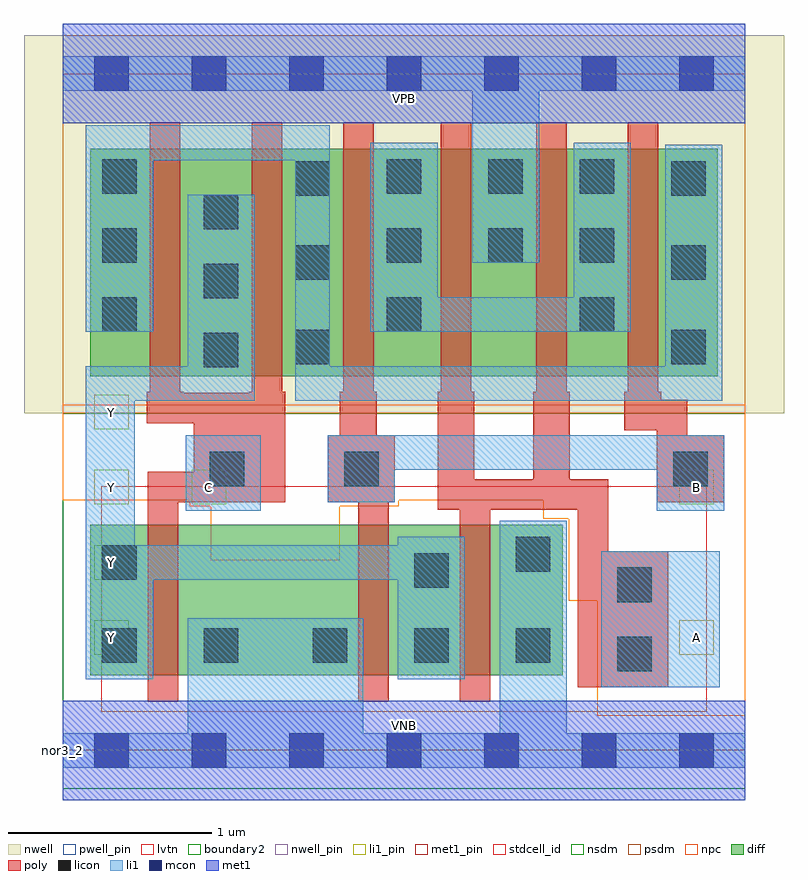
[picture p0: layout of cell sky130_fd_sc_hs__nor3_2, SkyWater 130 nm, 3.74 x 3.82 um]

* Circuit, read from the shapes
.subckt sky130_fd_sc_hs__nor3_2 A B C VGND VNB VPB VPWR Y
XM1 VGND C Y VNB sky130_fd_pr__nfet_01v8_lvt w=0.74 l=0.15
XM2 Y B VGND VNB sky130_fd_pr__nfet_01v8_lvt w=0.74 l=0.15
XM3 VGND A Y VNB sky130_fd_pr__nfet_01v8_lvt w=0.74 l=0.15
XM4 Y C n1 VPB sky130_fd_pr__pfet_01v8 w=1.12 l=0.15 m=2
XM5 n2 B n1 VPB sky130_fd_pr__pfet_01v8 w=1.12 l=0.15 m=2
XM6 VPWR A n2 VPB sky130_fd_pr__pfet_01v8 w=1.12 l=0.15 m=2
.ends

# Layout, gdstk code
import gdstk
lib = gdstk.Library(unit=1e-6, precision=1e-09)
def R(c, l, rs):  # rectangles x0, y0, x1, y1
    for r in rs: c.add(gdstk.rectangle(r[:2], r[2:], *l))
def A(c, l, x, y, w, h, nx, ny, dx, dy):  # array of equal rectangles
    R(c, l, [(x+i*dx, y+j*dy, x+i*dx+w, y+j*dy+h) for i in range(nx) for j in range(ny)])
def P(c, l, *ps):  # polygons
    for p in ps: c.add(gdstk.Polygon(p, *l))
nwell_pin = (64, 16)
nwell = (64, 20)
diff = (65, 20)
poly = (66, 20)
licon = (66, 44)
li1_pin = (67, 16)
li1 = (67, 20)
mcon = (67, 44)
met1_pin = (68, 16)
met1 = (68, 20)
stdcell_id = (81, 4)
nsdm = (93, 44)
psdm = (94, 20)
npc = (95, 20)
pwell_pin = (122, 16)
lvtn = (125, 44)
boundary2 = (236, 0)

sky130_fd_sc_hs__nor3_2 = lib.new_cell('sky130_fd_sc_hs__nor3_2')
R(sky130_fd_sc_hs__nor3_2, nwell_pin, [(0,3.085,3.36,3.33)])
R(sky130_fd_sc_hs__nor3_2, nwell, [(-0.19,1.66,3.55,3.52)])
R(sky130_fd_sc_hs__nor3_2, diff, [(0.135,0.37,2.46,1.11), (0.135,1.84,3.225,2.96)])
P(sky130_fd_sc_hs__nor3_2, poly, [(3.255,1.55),(3.075,1.55),(3.075,1.725),(2.945,1.725),(2.945,1.765),(2.93,1.765),(2.93,3.09),(2.78,3.09),(2.78,1.765),(2.765,1.765),(2.765,1.575),(2.925,1.575),(2.925,1.22),(3.255,1.22)],
  [(2.98,0.98),(2.685,0.98),(2.685,1.335),(2.495,1.335),(2.495,1.765),(2.48,1.765),(2.48,3.09),(2.33,3.09),(2.33,1.765),(2.315,1.765),(2.315,1.335),(2.025,1.335),(2.025,1.765),(2.01,1.765),(2.01,3.09),(1.86,3.09),(1.86,1.765),(1.845,1.765),(1.845,1.185),(1.955,1.185),(1.955,0.24),(2.105,0.24),(2.105,1.185),(2.535,1.185),(2.535,0.31),(2.98,0.31)],
  [(1.635,1.55),(1.545,1.55),(1.545,1.765),(1.53,1.765),(1.53,3.09),(1.38,3.09),(1.38,1.765),(1.365,1.765),(1.365,1.55),(1.305,1.55),(1.305,1.22),(1.455,1.22),(1.455,0.24),(1.605,0.24),(1.605,1.22),(1.635,1.22)],
  [(1.095,1.765),(1.08,1.765),(1.08,3.09),(0.93,3.09),(0.93,1.765),(0.915,1.765),(0.915,1.76),(0.595,1.76),(0.595,1.765),(0.58,1.765),(0.58,3.09),(0.43,3.09),(0.43,1.765),(0.415,1.765),(0.415,1.61),(0.645,1.61),(0.645,1.37),(0.42,1.37),(0.42,0.24),(0.57,0.24),(0.57,1.22),(1.095,1.22)])
A(sky130_fd_sc_hs__nor3_2, licon, 1.23, 0.43, 0.17, 0.17, 3, 1, 0.5, 0)
A(sky130_fd_sc_hs__nor3_2, licon, 0.695, 1.885, 0.17, 0.17, 1, 3, 0, 0.34)
A(sky130_fd_sc_hs__nor3_2, licon, 1.145, 1.9, 0.17, 0.17, 1, 3, 0, 0.415)
A(sky130_fd_sc_hs__nor3_2, licon, 2.995, 1.9, 0.17, 0.17, 1, 3, 0, 0.415)
A(sky130_fd_sc_hs__nor3_2, licon, 0.195, 2.06, 0.17, 0.17, 1, 3, 0, 0.34)
A(sky130_fd_sc_hs__nor3_2, licon, 1.595, 2.06, 0.17, 0.17, 1, 3, 0, 0.34)
A(sky130_fd_sc_hs__nor3_2, licon, 2.545, 2.06, 0.17, 0.17, 1, 3, 0, 0.34)
R(sky130_fd_sc_hs__nor3_2, licon, [(2.73,0.39,2.9,0.56), (0.195,0.43,0.365,0.6), (0.695,0.43,0.865,0.6), (2.73,0.73,2.9,0.9), (1.73,0.8,1.9,0.97), (0.195,0.84,0.365,1.01), (2.23,0.88,2.4,1.05), (0.725,1.3,0.895,1.47), (1.385,1.3,1.555,1.47), (3.005,1.3,3.175,1.47), (2.095,2.4,2.265,2.57), (2.095,2.74,2.265,2.91)])
A(sky130_fd_sc_hs__nor3_2, li1_pin, 0.155, 0.47, 0.17, 0.17, 1, 4, 0, 0.37)
R(sky130_fd_sc_hs__nor3_2, li1_pin, [(3.035,0.47,3.205,0.64), (0.635,1.21,0.805,1.38), (3.035,1.21,3.205,1.38)])
R(sky130_fd_sc_hs__nor3_2, li1, [(2.65,0.31,3.235,0.98), (0.605,1.18,0.975,1.55)])
P(sky130_fd_sc_hs__nor3_2, li1, [(0,3.245),(0,3.415),(3.36,3.415),(3.36,3.245),(2.345,3.245),(2.345,2.4),(2.015,2.4),(2.015,3.245)],
  [(0,-0.085),(0,0.085),(0.615,0.085),(0.615,0.65),(1.48,0.65),(1.48,0.085),(2.15,0.085),(2.15,1.13),(2.48,1.13),(2.48,0.085),(3.36,0.085),(3.36,-0.085)],
  [(0.615,1.89),(0.615,2.735),(0.945,2.735),(0.945,1.72),(0.355,1.72),(0.355,1.01),(1.65,1.01),(1.65,1.05),(1.98,1.05),(1.98,0.35),(1.65,0.35),(1.65,0.84),(0.445,0.84),(0.445,0.35),(0.115,0.35),(0.115,1.89)],
  [(2.925,1.18),(2.925,1.38),(1.635,1.38),(1.635,1.22),(1.305,1.22),(1.305,1.55),(3.255,1.55),(3.255,1.18)],
  [(1.315,1.89),(2.965,1.89),(2.965,2.98),(3.245,2.98),(3.245,1.72),(1.145,1.72),(1.145,2.905),(0.445,2.905),(0.445,2.06),(0.115,2.06),(0.115,3.075),(1.315,3.075)],
  [(1.845,2.23),(2.515,2.23),(2.515,2.99),(2.795,2.99),(2.795,2.06),(1.515,2.06),(1.515,2.99),(1.845,2.99)])
A(sky130_fd_sc_hs__nor3_2, mcon, 0.155, -0.085, 0.17, 0.17, 7, 2, 0.48, 3.33)
R(sky130_fd_sc_hs__nor3_2, met1_pin, [(0,0,3.36,0.245), (0,3.085,3.36,3.33)])
R(sky130_fd_sc_hs__nor3_2, met1, [(0,-0.245,3.36,0.245), (0,3.085,3.36,3.575)])
R(sky130_fd_sc_hs__nor3_2, stdcell_id, [(0,0,3.36,3.33)])
R(sky130_fd_sc_hs__nor3_2, nsdm, [(0,-0.19,3.36,1.66)])
R(sky130_fd_sc_hs__nor3_2, psdm, [(0,1.66,3.36,3.52)])
P(sky130_fd_sc_hs__nor3_2, npc, [(3.36,1.7),(0,1.7),(0,1.23),(0.625,1.23),(0.625,1.2),(0.73,1.2),(0.73,0.935),(1.365,0.935),(1.365,1.2),(1.655,1.2),(1.655,1.23),(2.365,1.23),(2.365,1.14),(2.49,1.14),(2.49,0.735),(2.63,0.735),(2.63,0.17),(3.36,0.17)])
R(sky130_fd_sc_hs__nor3_2, pwell_pin, [(0,0,3.36,0.245)])
R(sky130_fd_sc_hs__nor3_2, lvtn, [(0.19,0.19,3.17,1.3)])
R(sky130_fd_sc_hs__nor3_2, boundary2, [(0,0,3.36,3.33)])
sky130_fd_sc_hs__nor3_2.add(gdstk.Label('nor3_2', (0,0), layer=83, texttype=44))
sky130_fd_sc_hs__nor3_2.add(gdstk.Label('VNB', (1.68,0.123), layer=64, texttype=59))
sky130_fd_sc_hs__nor3_2.add(gdstk.Label('VPB', (1.68,3.208), layer=64, texttype=5))
sky130_fd_sc_hs__nor3_2.add(gdstk.Label('VPWR', (1.68,3.208), layer=68, texttype=5))
sky130_fd_sc_hs__nor3_2.add(gdstk.Label('VGND', (1.68,0.123), layer=68, texttype=5))
sky130_fd_sc_hs__nor3_2.add(gdstk.Label('Y', (0.24,0.555), layer=67, texttype=5))
sky130_fd_sc_hs__nor3_2.add(gdstk.Label('Y', (0.24,0.925), layer=67, texttype=5))
sky130_fd_sc_hs__nor3_2.add(gdstk.Label('Y', (0.24,1.295), layer=67, texttype=5))
sky130_fd_sc_hs__nor3_2.add(gdstk.Label('Y', (0.24,1.665), layer=67, texttype=5))
sky130_fd_sc_hs__nor3_2.add(gdstk.Label('A', (3.12,0.555), layer=67, texttype=5))
sky130_fd_sc_hs__nor3_2.add(gdstk.Label('B', (3.12,1.295), layer=67, texttype=5))
sky130_fd_sc_hs__nor3_2.add(gdstk.Label('C', (0.72,1.295), layer=67, texttype=5))

lib.write_gds('sky130_fd_sc_hs__nor3_2.gds')
